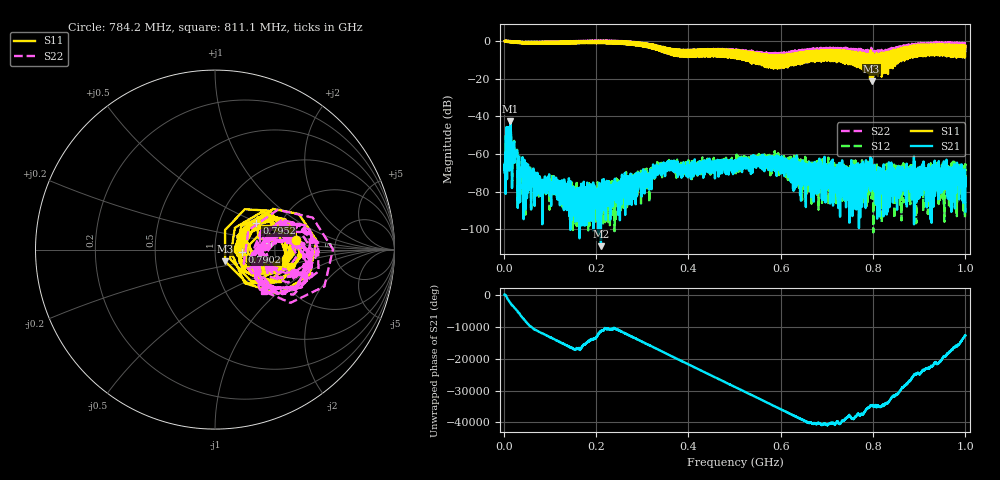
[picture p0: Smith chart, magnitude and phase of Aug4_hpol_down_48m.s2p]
!Keysight Technologies N9923A: A.12.45
!Date: Tuesday, 05 August 2025 19:13:33
!Timezone: (UTC+08:00) Kuala Lumpur, Singapore
!Model: N9923A
!Serial: MY61181427
!GPS Latitude:
!GPS Longitude:
!GPS TimeStamp: 0001-01-01 00:00:00Z
!GPS Seconds Since Last Read: 0
!CHECKSUM:1815702957
!Correction: S11(ON U)S21(ON U)S12(ON U)S22(ON U)
!S2P File: Measurements:S11,S21,S12,S22:
# Hz S DB R 50
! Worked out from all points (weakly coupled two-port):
!   4001 points, 2 MHz to 1 GHz, reference 50 ohm
!   highest |S21| = -42.57 dB at 14.47 MHz (marker M1); lowest = -109.0 dB at 210.6 MHz (marker M2)
!   lowest |S11| = -21.4 dB at 796.9 MHz (marker M3), VSWR 1.19, Z = 55.4 - j7.23 ohm
!   |S11| at or under -10 dB: 575.8149 MHz to 576.6037 MHz (788.7 kHz wide, 0.137 % of centre); 582.5675 MHz to 583.3665 MHz (799 kHz wide, 0.137 % of centre); 589.3173 MHz to 590.1185 MHz (801.1 kHz wide, 0.136 % of centre)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
!   |S22| runs from -15.0 to 0.3 dB; largest |S21 - S12| = 0.001
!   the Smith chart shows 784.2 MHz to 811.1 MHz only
!   S11 on the Smith chart (normalised r, x): 784.2 MHz: 2.62, +0.36; 790.2 MHz: 1.35, -0.04; 795.2 MHz: 1.50, +0.49; 811.1 MHz: 2.37, -0.52
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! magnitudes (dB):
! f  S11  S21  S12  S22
! 2 MHz  -0.1  -69.8  -69.3  -0.1
! 10.98 MHz  -0.6  -58.7  -59.2  -0.6
! 14.47 MHz  -0.6  -42.6  -42.6  -0.4
! 24.95 MHz  -0.2  -60.5  -60.0  -0.2
! 34.93 MHz  -0.3  -74.1  -75.2  -0.4
! 44.41 MHz  -1.3  -65.8  -64.6  -1.2
! 79.34 MHz  -1.4  -77.2  -75.7  -1.2
! 168.4 MHz  -1.2  -83.1  -92.7  -1.0
! 210.6 MHz  -1.1  -109.0  -82.9  -1.0
! 313.9 MHz  -2.1  -74.7  -73.8  -1.8
! 334.8 MHz  -3.8  -66.9  -64.9  -4.5
! 501 MHz  -5.7  -65.3  -65.9  -6.5
! 588.3 MHz  -11.0  -66.0  -61.4  -11.7
! 667.4 MHz  -8.8  -67.9  -63.8  -8.7
! 784.2 MHz  -6.8  -75.5  -65.8  -6.8
! 790.2 MHz  -16.5  -76.9  -82.6  -8.6
! 795.2 MHz  -11.2  -73.4  -63.5  -10.7
! 796.9 MHz  -21.4  -70.0  -83.7  -7.7
! 811.1 MHz  -7.4  -67.1  -75.9  -8.9
! 833.8 MHz  -10.5  -82.4  -72.0  -5.5
! 985.5 MHz  -8.2  -71.7  -73.6  -2.2
! 1 GHz  -2.5  -90.7  -73.9  -2.2
